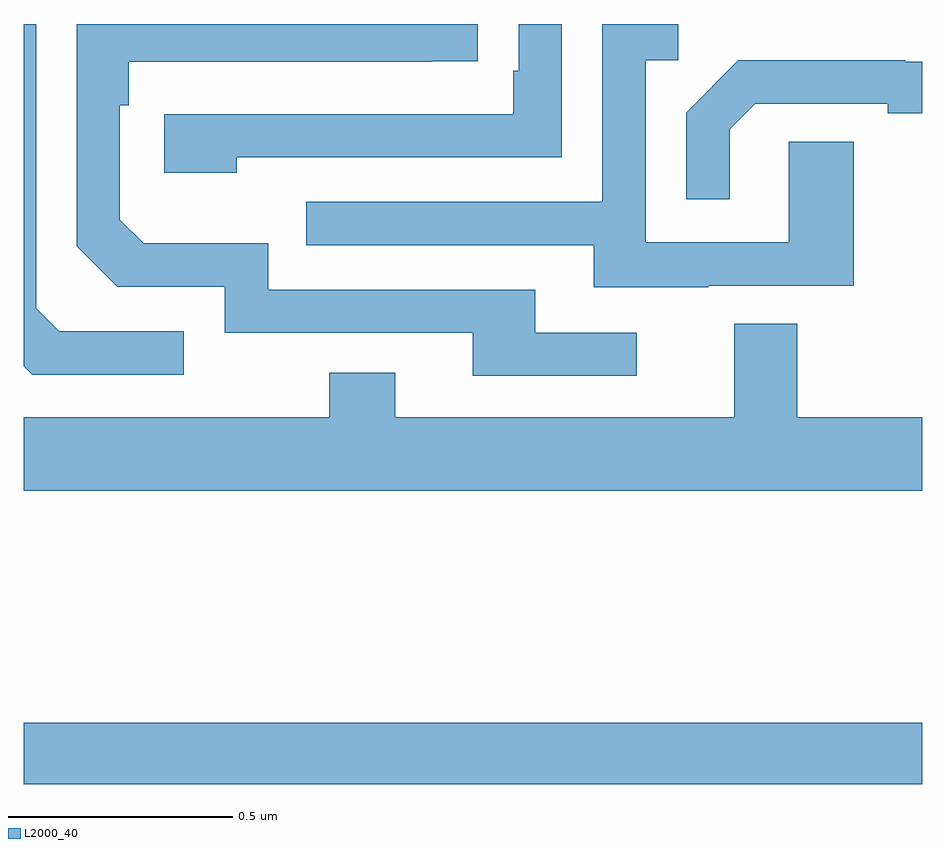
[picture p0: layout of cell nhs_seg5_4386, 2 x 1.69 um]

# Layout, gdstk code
import gdstk
lib = gdstk.Library(unit=1e-6, precision=1e-09)
def R(c, l, rs):  # rectangles x0, y0, x1, y1
    for r in rs: c.add(gdstk.rectangle(r[:2], r[2:], *l))
def P(c, l, *ps):  # polygons
    for p in ps: c.add(gdstk.Polygon(p, *l))
L2000_40 = (2000, 40)

nhs_seg5_4386 = lib.new_cell('nhs_seg5_4386')
R(nhs_seg5_4386, L2000_40, [(170,856.108,172,856.244)])
P(nhs_seg5_4386, L2000_40, [(171.523,857.217),(171.847,857.217),(171.847,857.537),(171.702,857.537),(171.702,857.313),(171.384,857.313),(171.384,857.718),(171.457,857.718),(171.457,857.799),(171.288,857.799),(171.288,857.403),(170.629,857.403),(170.629,857.307),(171.269,857.307),(171.269,857.213),(171.523,857.213)],
  [(171.364,857.112),(171.139,857.112),(171.139,857.208),(170.544,857.208),(170.544,857.311),(170.267,857.311),(170.214,857.364),(170.214,857.618),(170.234,857.618),(170.234,857.715),(170.909,857.715),(170.909,857.716),(171.011,857.716),(171.011,857.799),(170.118,857.799),(170.118,857.304),(170.208,857.214),(170.448,857.214),(170.448,857.112),(170.999,857.112),(170.999,857.016),(171.364,857.016)],
  [(170.474,857.502),(171.198,857.502),(171.198,857.799),(171.102,857.799),(171.102,857.695),(171.089,857.695),(171.089,857.598),(170.313,857.598),(170.313,857.468),(170.474,857.468)],
  [(170.356,857.115),(170.079,857.115),(170.028,857.166),(170.028,857.799),(170,857.799),(170,857.038),(170.019,857.019),(170.356,857.019)],
  [(171.571,857.565),(171.628,857.622),(171.923,857.622),(171.923,857.6),(172,857.6),(172,857.715),(171.962,857.715),(171.962,857.718),(171.59,857.718),(171.474,857.602),(171.474,857.409),(171.571,857.409)],
  [(172,856.924),(171.721,856.924),(171.721,857.132),(171.581,857.132),(171.581,856.924),(170.827,856.924),(170.827,857.023),(170.68,857.023),(170.68,856.924),(170,856.924),(170,856.76),(172,856.76)])

lib.write_gds('nhs_seg5_4386.gds')
